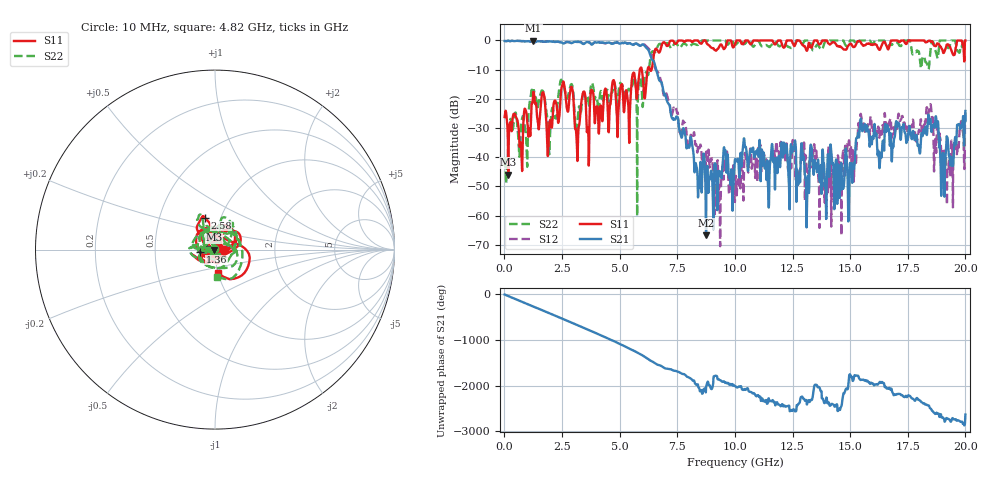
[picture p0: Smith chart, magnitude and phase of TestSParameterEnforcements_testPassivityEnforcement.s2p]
# MHz MA S R 50.0
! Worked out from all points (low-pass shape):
!   2000 points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, 10 MHz to 20 GHz, reference 50 ohm
!   highest |S21| = -0.06 dB at 1.25 GHz (marker M1); lowest = -66.7 dB at 8.75 GHz (marker M2)
!   |S21| within 3 dB of the highest: start of sweep to 6.231 GHz
!   lowest |S11| = -45.9 dB at 170 MHz (marker M3), VSWR 1.01, Z = 49.5 - j0.128 ohm
!   |S11| at or under -10 dB: start of sweep to 5.876 GHz; 5.962 GHz to 6.215 GHz (253.4 MHz wide, 4.16 % of centre); 6.313 GHz to 6.388 GHz (75.39 MHz wide, 1.19 % of centre)
!   |S22| runs from -60.2 to 0.0 dB; largest |S21 - S12| = 0.12
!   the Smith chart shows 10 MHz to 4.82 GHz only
!   S11 on the Smith chart (normalised r, x): 10 MHz: 1.10, -0.01; 1.36 GHz: 0.85, -0.02; 2.58 GHz: 0.84, +0.31; 4.82 GHz: 1.00, -0.27
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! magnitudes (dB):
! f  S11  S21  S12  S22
! 10 MHz  -26.2  -0.2  -0.2  -43.1
! 170 MHz  -45.9  -0.1  -0.1  -34.3
! 720 MHz  -35.7  -0.2  -0.2  -29.7
! 1.25 GHz  -18.4  -0.1  -0.1  -18.4
! 1.36 GHz  -21.5  -0.5  -0.5  -19.5
! 1.94 GHz  -30.2  -0.3  -0.3  -37.9
! 2.58 GHz  -14.6  -1.0  -1.0  -15.4
! 3.15 GHz  -36.8  -0.5  -0.5  -29.6
! 3.35 GHz  -20.5  -0.8  -0.8  -22.3
! 4.82 GHz  -17.6  -0.8  -0.8  -16.4
! 6.68 GHz  -3.9  -12.7  -11.1  -1.6
! 8.75 GHz  -0.4  -66.7  -38.9  0.0
! 10.01 GHz  -1.3  -40.6  -53.6  -1.4
! 13.34 GHz  -2.3  -37.2  -38.4  -2.6
! 14.27 GHz  -0.5  -42.7  -45.0  0.0
! 15 GHz  -1.2  -41.9  -39.0  0.0
! 15.44 GHz  -0.4  -27.9  -25.9  0.0
! 16.67 GHz  -2.8  -30.2  -29.4  -1.8
! 18.42 GHz  0.0  -26.4  -24.0  -9.2
! 18.73 GHz  -1.8  -26.3  -38.5  -4.3
! 19.02 GHz  -3.8  -38.6  -37.4  0.0
! 20 GHz  0.0  -24.2  -24.2  0.0
